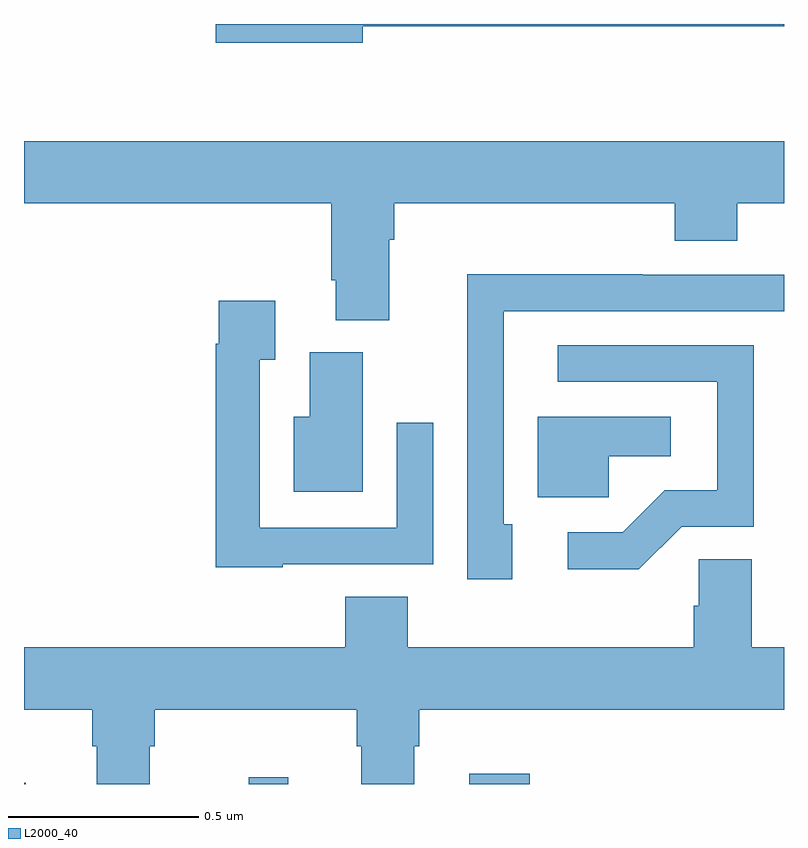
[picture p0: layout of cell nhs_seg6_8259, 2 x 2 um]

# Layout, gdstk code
import gdstk
lib = gdstk.Library(unit=1e-6, precision=1e-09)
def R(c, l, rs):  # rectangles x0, y0, x1, y1
    for r in rs: c.add(gdstk.rectangle(r[:2], r[2:], *l))
def P(c, l, *ps):  # polygons
    for p in ps: c.add(gdstk.Polygon(p, *l))
L2000_40 = (2000, 40)

nhs_seg6_8259 = lib.new_cell('nhs_seg6_8259')
R(nhs_seg6_8259, L2000_40, [(219,920.5,219.004,920.503), (219.592,920.5,219.695,920.518), (220.172,920.5,220.331,920.527)])
P(nhs_seg6_8259, L2000_40, [(219.892,922.494),(221,922.494),(221,922.5),(219.504,922.5),(219.504,922.451),(219.892,922.451)],
  [(219.961,921.932),(219.974,921.932),(219.974,922.028),(220.712,922.028),(220.712,921.929),(220.877,921.929),(220.877,922.028),(221,922.028),(221,922.192),(219,922.192),(219,922.028),(219.809,922.028),(219.809,921.826),(219.821,921.826),(219.821,921.721),(219.961,921.721)],
  [(220.285,921.183),(220.263,921.183),(220.263,921.744),(221,921.744),(221,921.84),(220.628,921.84),(220.628,921.842),(220.166,921.842),(220.166,921.538),(220.167,921.538),(220.167,921.039),(220.285,921.039)],
  [(219.681,921.078),(220.077,921.078),(220.077,921.451),(219.981,921.451),(219.981,921.174),(219.621,921.174),(219.621,921.616),(219.661,921.616),(219.661,921.772),(219.513,921.772),(219.513,921.659),(219.505,921.659),(219.505,921.071),(219.681,921.071)],
  [(220.731,921.177),(220.92,921.177),(220.92,921.654),(220.404,921.654),(220.404,921.558),(220.824,921.558),(220.824,921.273),(220.686,921.273),(220.575,921.162),(220.431,921.162),(220.431,921.065),(220.618,921.065)],
  [(219.892,921.636),(219.752,921.636),(219.752,921.466),(219.71,921.466),(219.71,921.269),(219.892,921.269)],
  [(220.539,921.362),(220.702,921.362),(220.702,921.466),(220.352,921.466),(220.352,921.255),(220.539,921.255)],
  [(219.331,920.6),(219.344,920.6),(219.344,920.696),(219.875,920.696),(219.875,920.6),(219.887,920.6),(219.887,920.5),(220.027,920.5),(220.027,920.6),(220.04,920.6),(220.04,920.696),(221,920.696),(221,920.86),(220.915,920.86),(220.915,921.092),(220.776,921.092),(220.776,920.969),(220.763,920.969),(220.763,920.86),(220.01,920.86),(220.01,920.993),(219.845,920.993),(219.845,920.86),(219,920.86),(219,920.696),(219.179,920.696),(219.179,920.6),(219.191,920.6),(219.191,920.5),(219.331,920.5)])

lib.write_gds('nhs_seg6_8259.gds')
